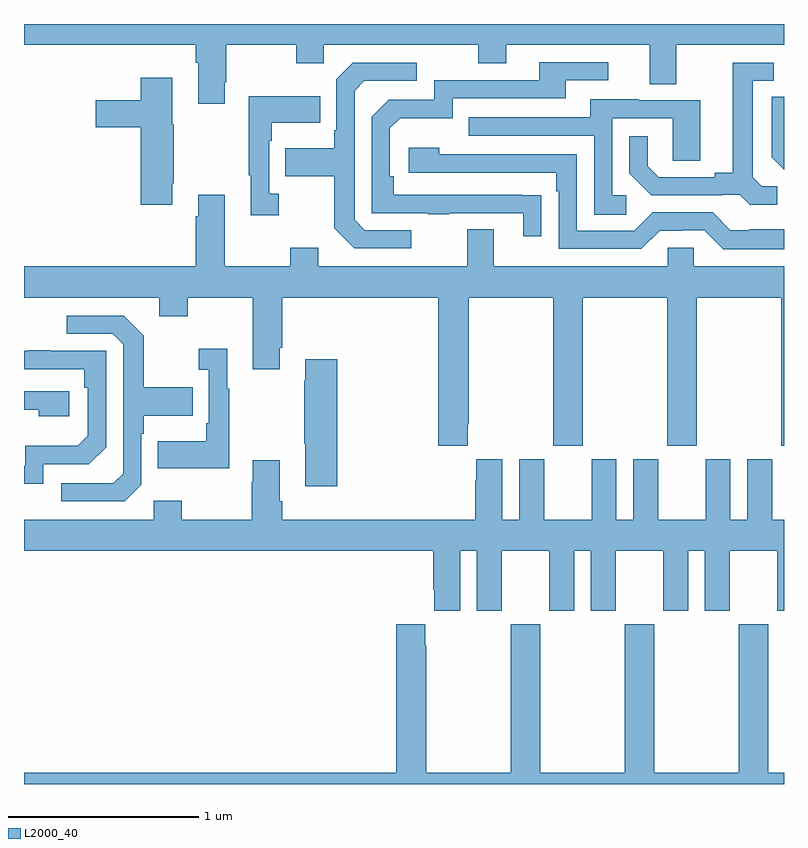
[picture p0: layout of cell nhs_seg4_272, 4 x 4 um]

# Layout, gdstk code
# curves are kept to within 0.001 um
import gdstk
lib = gdstk.Library(unit=1e-6, precision=1e-09)
def P(c, l, *ps):  # polygons
    for p in ps: c.add(gdstk.Polygon(p, *l))
L2000_40 = (2000, 40)

nhs_seg4_272 = lib.new_cell('nhs_seg4_272')
P(nhs_seg4_272, L2000_40, [(124.057,824.593),(124.065,824.593),(124.065,824.792),(124.432,824.792),(124.432,824.693),(124.578,824.693),(124.578,824.792),(125.392,824.792),(125.392,824.693),(125.539,824.693),(125.539,824.792),(126.293,824.792),(126.293,824.584),(126.433,824.584),(126.433,824.792),(127,824.792),(127,824.9),(123,824.9),(123,824.792),(123.905,824.792),(123.905,824.696),(123.917,824.696),(123.917,824.481),(124.057,824.481)],
  [(125.723,824),(124.946,824.001),(124.946,824.098),(124.926,824.098),(124.926,824.352),(124.979,824.405),(125.256,824.405),(125.256,824.508),(125.851,824.508),(125.851,824.604),(126.076,824.604),(126.076,824.7),(125.711,824.7),(125.711,824.604),(125.16,824.604),(125.16,824.502),(124.92,824.502),(124.83,824.412),(124.83,823.905),(125.125,823.905),(125.125,823.9),(125.237,823.9),(125.237,823.905),(125.627,823.905),(125.627,823.782),(125.723,823.782)],
  [(125.038,823.815),(124.794,823.815),(124.74,823.869),(124.74,824.55),(124.791,824.601),(125.068,824.601),(125.068,824.697),(124.731,824.697),(124.644,824.61),(124.644,824.341),(124.632,824.341),(124.632,824.245),(124.375,824.245),(124.375,824.098),(124.632,824.098),(124.632,823.825),(124.737,823.719),(125.038,823.719)],
  [(126.964,824.046),(126.882,824.046),(126.835,824.093),(126.835,824.601),(126.946,824.601),(126.946,824.697),(126.731,824.697),(126.731,824.117),(126.635,824.117),(126.635,824.094),(126.34,824.094),(126.283,824.151),(126.283,824.308),(126.186,824.308),(126.186,824.114),(126.302,823.998),(126.674,823.998),(126.674,824.001),(126.768,824.001),(126.82,823.949),(126.964,823.949)],
  [(123.781,824.062),(123.789,824.062),(123.789,824.373),(123.781,824.373),(123.781,824.617),(123.614,824.617),(123.614,824.499),(123.378,824.499),(123.378,824.357),(123.614,824.357),(123.614,823.95),(123.781,823.95)],
  [(124.342,824.006),(124.29,824.006),(124.29,824.285),(124.303,824.285),(124.303,824.381),(124.559,824.381),(124.559,824.521),(124.182,824.521),(124.182,824.105),(124.193,824.105),(124.193,823.893),(124.342,823.893)],
  [(127,824.516),(126.936,824.516),(126.936,824.198),(127,824.134)],
  [(126.169,823.998),(126.096,823.998),(126.096,824.403),(126.414,824.403),(126.414,824.179),(126.559,824.179),(126.559,824.499),(126.235,824.499),(126.235,824.503),(125.981,824.503),(125.981,824.409),(125.341,824.409),(125.341,824.313),(126,824.313),(126,823.897),(126.169,823.897)],
  [(127,823.819),(126.817,823.819),(126.817,823.815),(126.717,823.815),(126.624,823.908),(126.309,823.908),(126.213,823.812),(125.91,823.812),(125.91,824.214),(125.186,824.214),(125.186,824.248),(125.025,824.248),(125.025,824.118),(125.801,824.118),(125.801,824.021),(125.814,824.021),(125.814,823.716),(126.249,823.716),(126.345,823.812),(126.464,823.812),(126.464,823.815),(126.579,823.815),(126.679,823.715),(127,823.715)],
  [(125.335,822.793),(125.34,822.793),(125.34,823.46),(125.785,823.46),(125.785,822.681),(125.94,822.681),(125.94,823.46),(126.385,823.46),(126.385,822.681),(126.54,822.681),(126.54,823.46),(126.985,823.46),(126.985,822.681),(127,822.681),(127,823.624),(126.525,823.624),(126.525,823.722),(126.387,823.722),(126.387,823.624),(125.473,823.624),(125.473,823.819),(125.333,823.819),(125.333,823.624),(124.549,823.624),(124.549,823.723),(124.402,823.723),(124.402,823.624),(124.057,823.624),(124.057,824.002),(123.917,824.002),(123.917,823.889),(123.905,823.889),(123.905,823.624),(123,823.624),(123,823.46),(123.713,823.46),(123.713,823.361),(123.861,823.361),(123.861,823.46),(124.205,823.46),(124.205,823.083),(124.345,823.083),(124.345,823.195),(124.358,823.195),(124.358,823.46),(125.18,823.46),(125.18,822.681),(125.335,822.681)],
  [(123.618,822.474),(123.618,822.743),(123.631,822.743),(123.631,822.839),(123.887,822.839),(123.887,822.987),(123.631,822.987),(123.631,823.259),(123.525,823.365),(123.225,823.365),(123.225,823.269),(123.468,823.269),(123.522,823.215),(123.522,822.534),(123.471,822.483),(123.195,822.483),(123.195,822.387),(123.531,822.387)],
  [(124.081,822.979),(124.069,822.979),(124.069,823.192),(123.921,823.192),(123.921,823.079),(123.972,823.079),(123.972,822.799),(123.96,822.799),(123.96,822.703),(123.703,822.703),(123.703,822.563),(124.081,822.563)],
  [(123.102,822.582),(123.342,822.582),(123.432,822.672),(123.432,823.179),(123.137,823.179),(123.137,823.184),(123.025,823.184),(123.025,823.179),(123,823.179),(123,823.083),(123.316,823.083),(123.316,822.986),(123.336,822.986),(123.336,822.732),(123.283,822.679),(123.006,822.679),(123.006,822.576),(123,822.576),(123,822.48),(123.102,822.48)],
  [(124.649,823.135),(124.481,823.135),(124.481,823.022),(124.474,823.022),(124.474,822.691),(124.481,822.691),(124.481,822.468),(124.649,822.468)],
  [(123.238,822.966),(123,822.966),(123,822.87),(123.077,822.87),(123.077,822.836),(123.238,822.836)],
  [(125.296,822.128),(125.384,822.128),(125.384,821.811),(125.515,821.811),(125.515,822.128),(125.765,822.128),(125.765,821.811),(125.896,821.811),(125.896,822.128),(125.984,822.128),(125.984,821.811),(126.115,821.811),(126.115,822.128),(126.365,822.128),(126.365,821.811),(126.496,821.811),(126.496,822.128),(126.584,822.128),(126.584,821.811),(126.715,821.811),(126.715,822.128),(126.965,822.128),(126.965,821.811),(127,821.811),(127,822.292),(126.937,822.292),(126.937,822.61),(126.806,822.61),(126.806,822.292),(126.718,822.292),(126.718,822.61),(126.587,822.61),(126.587,822.292),(126.337,822.292),(126.337,822.61),(126.206,822.61),(126.206,822.292),(126.118,822.292),(126.118,822.61),(125.987,822.61),(125.987,822.292),(125.737,822.292),(125.737,822.61),(125.606,822.61),(125.606,822.292),(125.518,822.292),(125.518,822.61),(125.381,822.61),(125.381,822.497),(125.375,822.497),(125.375,822.292),(124.358,822.292),(124.358,822.388),(124.345,822.388),(124.345,822.604),(124.205,822.604),(124.205,822.491),(124.198,822.491),(124.198,822.292),(123.831,822.292),(123.831,822.391),(123.684,822.391),(123.684,822.292),(123,822.292),(123,822.128),(125.153,822.128),(125.153,821.923),(125.159,821.923),(125.159,821.811),(125.296,821.811)],
  [(127,820.96),(126.918,820.96),(126.918,821.74),(126.763,821.74),(126.763,820.96),(126.318,820.96),(126.318,821.74),(126.163,821.74),(126.163,820.96),(125.718,820.96),(125.718,821.74),(125.563,821.74),(125.563,820.96),(125.118,820.96),(125.118,821.627),(125.113,821.627),(125.113,821.74),(124.958,821.74),(124.958,820.96),(123,820.96),(123,820.9),(127,820.9)])

lib.write_gds('nhs_seg4_272.gds')
